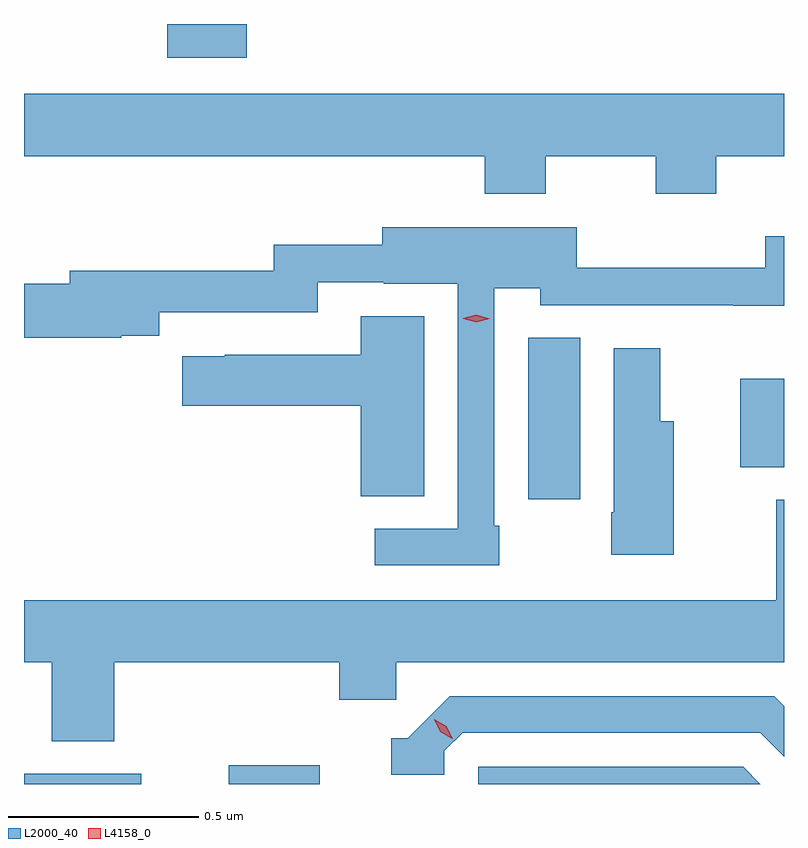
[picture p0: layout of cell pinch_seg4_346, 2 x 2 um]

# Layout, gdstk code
import gdstk
lib = gdstk.Library(unit=1e-6, precision=1e-09)
def R(c, l, rs):  # rectangles x0, y0, x1, y1
    for r in rs: c.add(gdstk.rectangle(r[:2], r[2:], *l))
def P(c, l, *ps):  # polygons
    for p in ps: c.add(gdstk.Polygon(p, *l))
L2000_40 = (2000, 40)
L4158_0 = (4158, 0)

pinch_seg4_346 = lib.new_cell('pinch_seg4_346')
R(pinch_seg4_346, L2000_40, [(999.196,807.156,999.504,807.183), (999.735,807.156,999.974,807.206), (1000.523,807.906,1000.66,808.331), (1001.081,807.989,1001.196,808.222), (999.573,809.067,999.782,809.156)])
P(pinch_seg4_346, L2000_40, [(1000.569,808.808),(1000.858,808.808),(1000.858,808.709),(1001.018,808.709),(1001.018,808.808),(1001.196,808.808),(1001.196,808.972),(999.196,808.972),(999.196,808.808),(1000.409,808.808),(1000.409,808.709),(1000.569,808.709)],
  [(1000.447,807.835),(1000.434,807.835),(1000.434,808.46),(1000.554,808.46),(1000.554,808.416),(1001.063,808.416),(1001.063,808.415),(1001.196,808.415),(1001.196,808.597),(1001.147,808.597),(1001.147,808.514),(1000.65,808.514),(1000.65,808.621),(1000.139,808.621),(1000.139,808.575),(999.853,808.575),(999.853,808.507),(999.317,808.507),(999.317,808.473),(999.196,808.473),(999.196,808.331),(999.452,808.331),(999.452,808.336),(999.552,808.336),(999.552,808.398),(999.969,808.398),(999.969,808.476),(1000.143,808.476),(1000.143,808.472),(1000.338,808.472),(1000.338,807.828),(1000.119,807.828),(1000.119,807.732),(1000.447,807.732)],
  [(1000.249,808.387),(1000.082,808.387),(1000.082,808.285),(999.724,808.285),(999.724,808.282),(999.613,808.282),(999.613,808.151),(1000.082,808.151),(1000.082,807.913),(1000.249,807.913)],
  [(1000.906,808.111),(1000.87,808.111),(1000.87,808.303),(1000.748,808.303),(1000.748,807.871),(1000.741,807.871),(1000.741,807.759),(1000.906,807.759)],
  [(999.434,807.476),(1000.025,807.476),(1000.025,807.378),(1000.176,807.378),(1000.176,807.476),(1001.196,807.476),(1001.196,807.904),(1001.176,807.904),(1001.176,807.64),(999.196,807.64),(999.196,807.476),(999.269,807.476),(999.269,807.268),(999.434,807.268)],
  [(1000.302,807.243),(1000.35,807.291),(1001.133,807.291),(1001.196,807.228),(1001.196,807.361),(1001.17,807.387),(1000.317,807.387),(1000.206,807.276),(1000.163,807.276),(1000.163,807.18),(1000.302,807.18)],
  [(1001.089,807.201),(1000.392,807.201),(1000.392,807.156),(1001.134,807.156)])
P(pinch_seg4_346, L4158_0, [(1000.323,807.275),(1000.292,807.294),(1000.276,807.327),(1000.276,807.327),(1000.276,807.327),(1000.307,807.308),(1000.324,807.275),(1000.324,807.275)],
  [(1000.386,808.371),(1000.352,808.381),(1000.352,808.381),(1000.352,808.382),(1000.386,808.391),(1000.421,808.381),(1000.421,808.38),(1000.421,808.38)])

lib.write_gds('pinch_seg4_346.gds')
